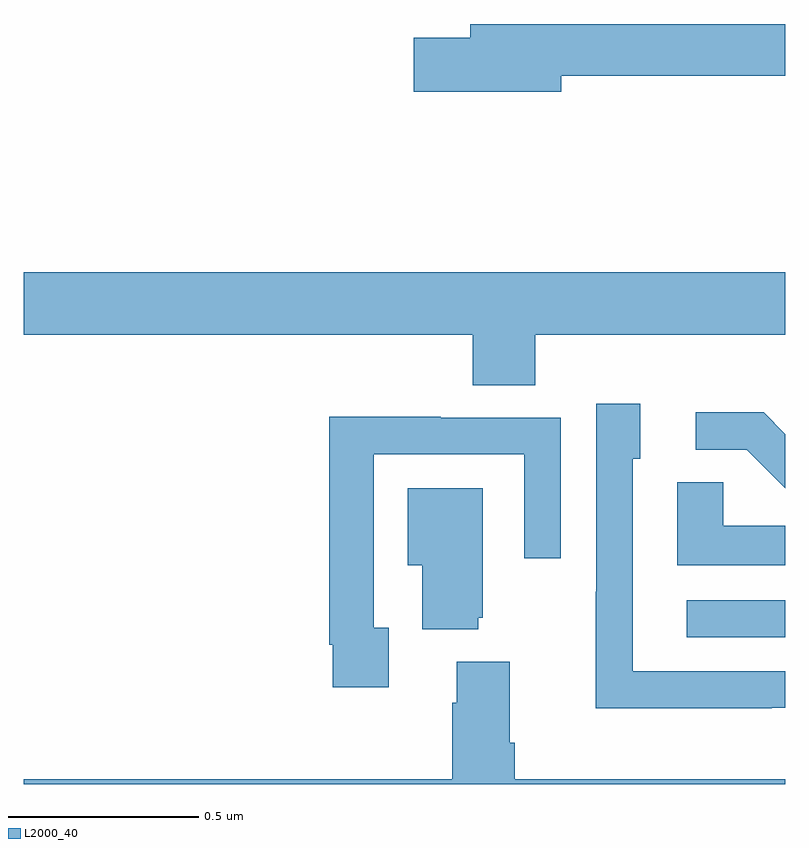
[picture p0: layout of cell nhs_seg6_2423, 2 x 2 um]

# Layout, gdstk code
import gdstk
lib = gdstk.Library(unit=1e-6, precision=1e-09)
def R(c, l, rs):  # rectangles x0, y0, x1, y1
    for r in rs: c.add(gdstk.rectangle(r[:2], r[2:], *l))
def P(c, l, *ps):  # polygons
    for p in ps: c.add(gdstk.Polygon(p, *l))
L2000_40 = (2000, 40)

nhs_seg6_2423 = lib.new_cell('nhs_seg6_2423')
R(nhs_seg6_2423, L2000_40, [(144.741,935.886,145,935.982)])
P(nhs_seg6_2423, L2000_40, [(144.412,937.36),(145,937.36),(145,937.496),(144.173,937.496),(144.173,937.46),(144.024,937.46),(144.024,937.318),(144.412,937.318)],
  [(144.344,936.68),(145,936.68),(145,936.844),(143,936.844),(143,936.68),(144.179,936.68),(144.179,936.547),(144.344,936.547)],
  [(144.965,935.7),(145,935.7),(145,935.796),(144.6,935.796),(144.6,936.354),(144.619,936.354),(144.619,936.499),(144.504,936.499),(144.504,936.005),(144.502,936.005),(144.502,935.699),(144.965,935.699)],
  [(145,936.419),(144.943,936.476),(144.765,936.476),(144.765,936.378),(144.899,936.378),(145,936.277)],
  [(143.959,935.91),(143.919,935.91),(143.919,936.366),(144.315,936.366),(144.315,936.093),(144.411,936.093),(144.411,936.462),(144.095,936.462),(144.095,936.464),(143.803,936.464),(143.803,935.866),(143.811,935.866),(143.811,935.754),(143.959,935.754)],
  [(145,936.178),(144.837,936.178),(144.837,936.293),(144.716,936.293),(144.716,936.074),(145,936.074)],
  [(144.194,935.937),(144.205,935.937),(144.205,936.277),(144.008,936.277),(144.008,936.074),(144.047,936.074),(144.047,935.906),(144.194,935.906)],
  [(145,935.512),(144.29,935.512),(144.29,935.608),(144.277,935.608),(144.277,935.821),(144.137,935.821),(144.137,935.714),(144.125,935.714),(144.125,935.512),(143,935.512),(143,935.5),(145,935.5)])

lib.write_gds('nhs_seg6_2423.gds')
